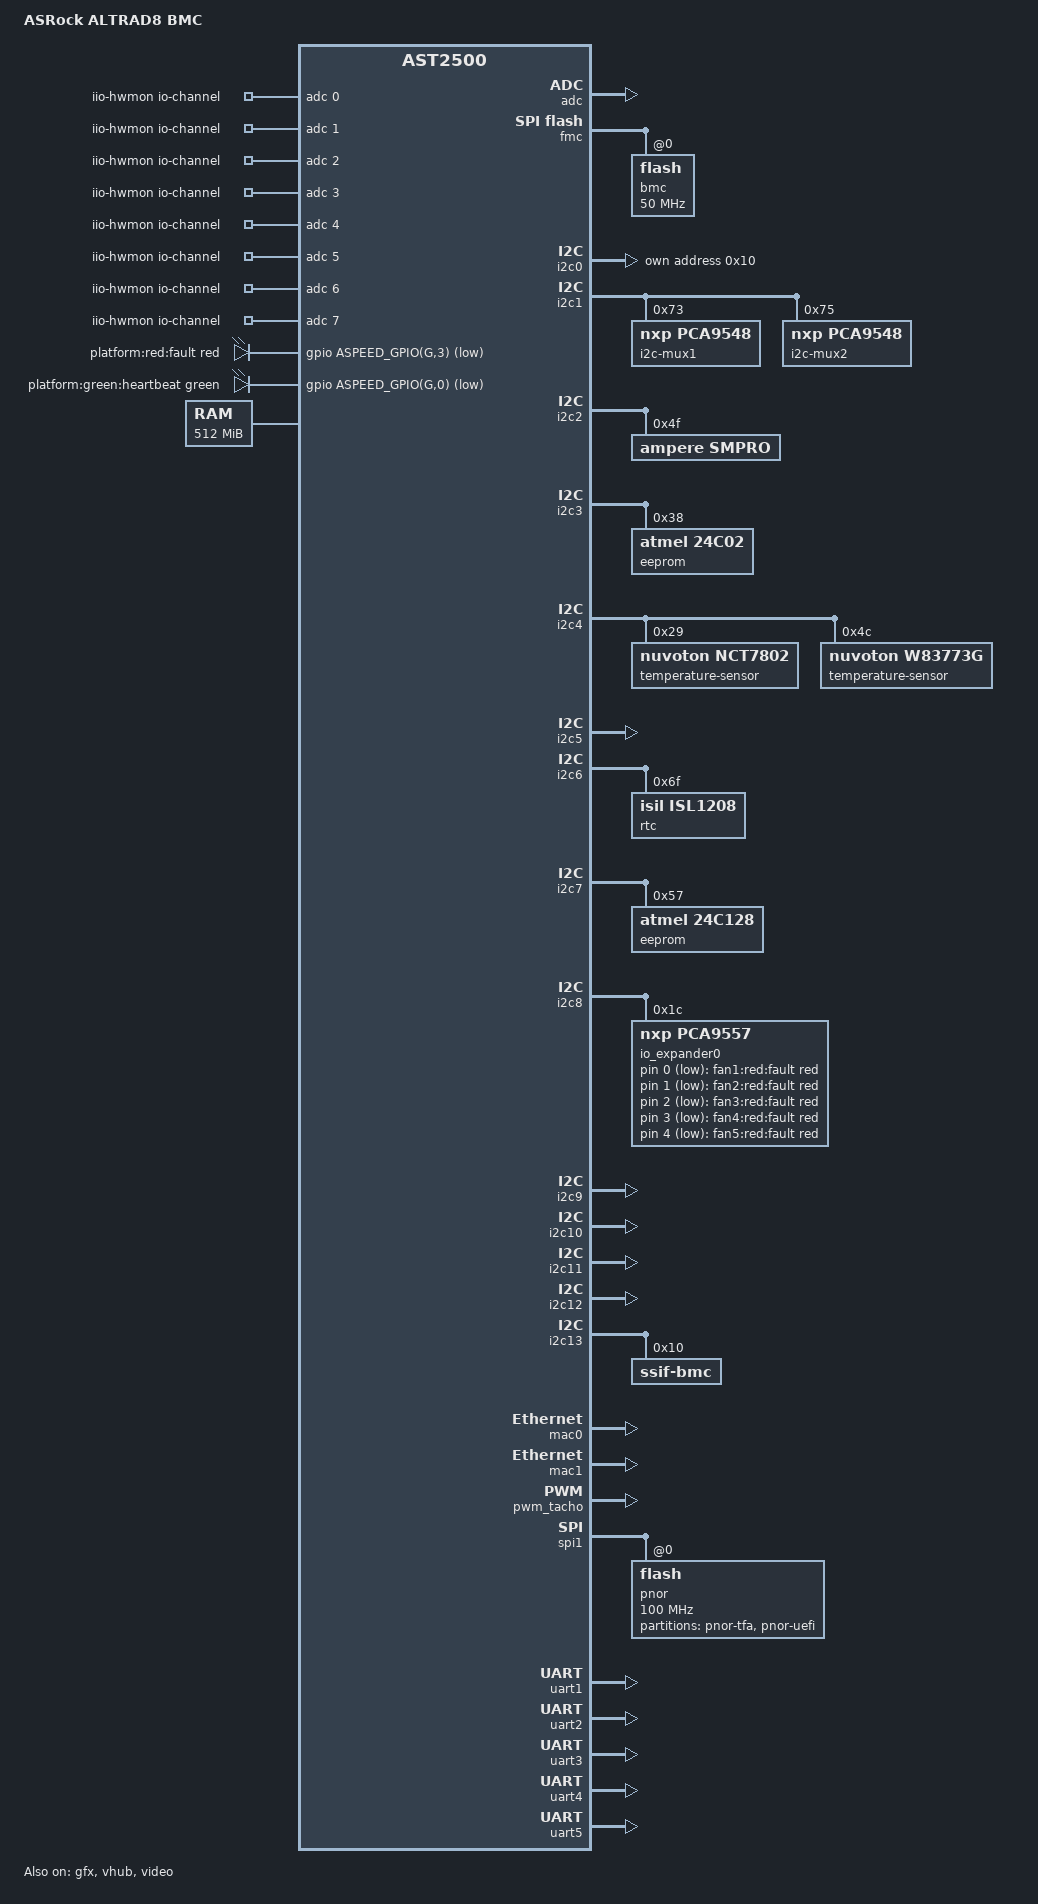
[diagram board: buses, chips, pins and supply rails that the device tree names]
// SPDX-License-Identifier: GPL-2.0+
/dts-v1/;

#include "aspeed-g5.dtsi"
#include <dt-bindings/gpio/aspeed-gpio.h>
#include <dt-bindings/leds/common.h>
#include <dt-bindings/i2c/i2c.h>

/ {
	model = "ASRock ALTRAD8 BMC";
	compatible = "asrock,altrad8-bmc", "aspeed,ast2500";

	aliases {
		serial4 = &uart5;
		i2c50 = &nvme1;
		i2c51 = &pcie4;
		i2c52 = &pcie5;
		i2c53 = &pcie6;
		i2c54 = &pcie7;
		i2c55 = &nvme3;
		i2c56 = &nvme2;
		i2c57 = &nvme0;
		i2c58 = &nvme4;
		i2c59 = &nvme5;
		i2c60 = &nvme6;
		i2c61 = &nvme7;
		i2c62 = &nvme8;
		i2c63 = &nvme9;
		i2c64 = &nvme10;
		i2c65 = &nvme11;
	};

	chosen {
		stdout-path = "uart5:115200n8";
	};

	iio-hwmon {
		compatible = "iio-hwmon";
		io-channels =	<&adc 0>, <&adc 1>, <&adc 2>, <&adc 3>,
				<&adc 4> ,<&adc 5>, <&adc 6>, <&adc 7>,
				<&adc 8>, <&adc 9>, <&adc 10>, <&adc 11>,
				<&adc 12>, <&adc 13>, <&adc 14>, <&adc 15>;
	};

	leds {
		compatible = "gpio-leds";

		led-system-fault {
			gpios = <&gpio ASPEED_GPIO(G,3) GPIO_ACTIVE_LOW>;
			label = "platform:red:fault";
			color = <LED_COLOR_ID_RED>;
			function = LED_FUNCTION_FAULT;
		};

		led-heartbeat {
			gpios = <&gpio ASPEED_GPIO(G,0) GPIO_ACTIVE_LOW>;
			label = "platform:green:heartbeat";
			color = <LED_COLOR_ID_GREEN>;
			function = LED_FUNCTION_INDICATOR;
			linux,default-trigger = "timer";
		};

		led-fan1-fault {
			retain-state-shutdown;
			default-state = "off";
			gpios = <&io_expander0 0 GPIO_ACTIVE_LOW>;
			label = "fan1:red:fault";
			color = <LED_COLOR_ID_RED>;
			function = LED_FUNCTION_FAULT;
		};

		led-fan2-fault {
			retain-state-shutdown;
			default-state = "off";
			gpios = <&io_expander0 1 GPIO_ACTIVE_LOW>;
			label = "fan2:red:fault";
			color = <LED_COLOR_ID_RED>;
			function = LED_FUNCTION_FAULT;
		};

		led-fan3-fault {
			retain-state-shutdown;
			default-state = "off";
			gpios = <&io_expander0 2 GPIO_ACTIVE_LOW>;
			label = "fan3:red:fault";
			color = <LED_COLOR_ID_RED>;
			function = LED_FUNCTION_FAULT;
		};

		led-fan4-fault {
			retain-state-shutdown;
			default-state = "off";
			gpios = <&io_expander0 3 GPIO_ACTIVE_LOW>;
			label = "fan4:red:fault";
			color = <LED_COLOR_ID_RED>;
			function = LED_FUNCTION_FAULT;
		};

		led-fan5-fault {
			retain-state-shutdown;
			default-state = "off";
			gpios = <&io_expander0 4 GPIO_ACTIVE_LOW>;
			label = "fan5:red:fault";
			color = <LED_COLOR_ID_RED>;
			function = LED_FUNCTION_FAULT;
		};
	};

	memory@80000000 {
		reg = <0x80000000 0x20000000>;
	};

	reserved-memory {
		#address-cells = <1>;
		#size-cells = <1>;
		ranges;

		gfx_memory: framebuffer {
			compatible = "shared-dma-pool";
			size = <0x01000000>;
			alignment = <0x01000000>;
			reusable;
		};

		vga_memory: framebuffer@9f000000 {
			no-map;
			reg = <0x9f000000 0x01000000>; /* 16M */
		};

		video_engine_memory: jpegbuffer {
			compatible = "shared-dma-pool";
			size = <0x02000000>;	/* 32M */
			alignment = <0x01000000>;
			reusable;
		};
	};
};

&adc {
	status = "okay";
	pinctrl-names = "default";
	pinctrl-0 = <&pinctrl_adc0_default
		&pinctrl_adc1_default
		&pinctrl_adc2_default
		&pinctrl_adc3_default
		&pinctrl_adc4_default
		&pinctrl_adc5_default
		&pinctrl_adc6_default
		&pinctrl_adc7_default
		&pinctrl_adc8_default
		&pinctrl_adc9_default
		&pinctrl_adc10_default
		&pinctrl_adc11_default
		&pinctrl_adc12_default
		&pinctrl_adc13_default
		&pinctrl_adc14_default
		&pinctrl_adc15_default>;
};

&fmc {
	status = "okay";

	flash@0 {
		label = "bmc";
		m25p,fast-read;
		spi-max-frequency = <50000000>;
		status = "okay";
#include "openbmc-flash-layout-64.dtsi"
	};
};

&gfx {
	memory-region = <&gfx_memory>;
	status = "okay";
};

&gpio {
	gpio-line-names =
	/*A0-A7*/	"","","","bmc-ready","","","","",
	/*B0-B7*/	"i2c-backup-sel","","","","","","","host0-shd-ack-n",
	/*C0-C7*/	"","","","","","","","",
	/*D0-D7*/	"button-power-n","control-power-n","button-reset-n",
			"host0-sysreset-n","","","power-chassis-good","",
	/*E0-E7*/	"","s0-vrd1-vddq0123-fault-n",
			"s0-vrd1-vddq4567-fault-n","s0-vrd0-vddc-fault-n",
			"s0-vrd3-p0v75-fault-n","","","",
	/*F0-F7*/	"","","ps-atx-on-n","","","","","",
	/*G0-G7*/	"led-bmc-heartbeat-n","button-identify-n","",
			"led-system-fault-n","uboot-ready","bmc-salt2-n","","",
	/*H0-H7*/	"ps-pwr-ok","","","","","","","",
	/*I0-I7*/	"","","","","","","","",
	/*J0-J7*/	"s0-hightemp-n","","","","","","","",
	/*K0-K7*/	"","","","","","","","",
	/*L0-L7*/	"","","","","","","","",
	/*M0-M7*/	"cpld-disable-bmc-n","","","","","s0-spi-auth-fail-n","","",
	/*N0-N7*/	"","","","","","","","",
	/*O0-O7*/	"","","","","","","","",
	/*P0-P7*/	"","","","","","","","",
	/*Q0-Q7*/	"","","","","","","led-identify-n",
			"chassis-intrusion-n",
	/*R0-R7*/	"","","ext-hightemp-n","spi0-program-sel","",
			"output-hwm-bat-en","","",
	/*S0-S7*/	"s0-vr-hot-n","","input-salt2-n","bmc-sysreset-n","","","","",
	/*T0-T7*/	"","","","","","","","",
	/*U0-U7*/	"","","","","","","","",
	/*V0-V7*/	"","","","","","","","",
	/*W0-W7*/	"","","","","","","","",
	/*X0-X7*/	"","","","","","","","",
	/*Y0-Y7*/	"","","","","","","","",
	/*Z0-Z7*/	"","","","s0-rtc-lock","","","","",
	/*AA0-AA7*/	"s0-rtc-int-n","","","","","pmbus-sel-n","","",
	/*AB0-AB7*/	"host0-reboot-ack-n","s0-sys-auth-failure-n",
			"","","","","","",
	/*AC0-AC7*/	"s0-fault-alert","host0-ready","s0-overtemp-n",
			"","bmc-ok","host0-special-boot","presence-cpu0",
			"host0-shd-req-n";

	status = "okay";
};

&i2c0 {
	status = "okay";

	ipmb@10 {
		compatible = "ipmb-dev";
		reg = <(0x10 | I2C_OWN_SLAVE_ADDRESS)>;
		i2c-protocol;
	};

};

&i2c1 {
	status = "okay";

	i2c-mux1@73 {
		compatible = "nxp,pca9548";
		reg = <0x73>;
		#address-cells = <1>;
		#size-cells = <0>;
		i2c-mux-idle-disconnect;

		nvme1: i2c@0 {
			#address-cells = <1>;
			#size-cells = <0>;
			reg = <0>;
		};

		pcie4: i2c@1 {
			#address-cells = <1>;
			#size-cells = <0>;
			reg = <1>;
		};

		pcie5: i2c@2 {
			#address-cells = <1>;
			#size-cells = <0>;
			reg = <2>;
		};

		pcie6: i2c@3 {
			#address-cells = <1>;
			#size-cells = <0>;
			reg = <3>;
		};

		pcie7: i2c@4 {
			#address-cells = <1>;
			#size-cells = <0>;
			reg = <4>;
		};

		nvme3: i2c@5 {
			#address-cells = <1>;
			#size-cells = <0>;
			reg = <5>;
		};

		nvme2: i2c@6 {
			#address-cells = <1>;
			#size-cells = <0>;
			reg = <6>;
		};

		nvme0: i2c@7 {
			#address-cells = <1>;
			#size-cells = <0>;
			reg = <7>;
		};
	};

	i2c-mux2@75 {
		compatible = "nxp,pca9548";
		reg = <0x75>;
		#address-cells = <1>;
		#size-cells = <0>;
		i2c-mux-idle-disconnect;

		nvme4: i2c@0 {
			#address-cells = <1>;
			#size-cells = <0>;
			reg = <0>;
		};

		nvme5: i2c@1 {
			#address-cells = <1>;
			#size-cells = <0>;
			reg = <1>;
		};

		nvme6: i2c@2 {
			#address-cells = <1>;
			#size-cells = <0>;
			reg = <2>;
		};

		nvme7: i2c@3 {
			#address-cells = <1>;
			#size-cells = <0>;
			reg = <3>;
		};

		nvme8: i2c@4 {
			#address-cells = <1>;
			#size-cells = <0>;
			reg = <4>;
		};

		nvme9: i2c@5 {
			#address-cells = <1>;
			#size-cells = <0>;
			reg = <5>;
		};

		nvme10: i2c@6 {
			#address-cells = <1>;
			#size-cells = <0>;
			reg = <6>;
		};

		nvme11: i2c@7 {
			#address-cells = <1>;
			#size-cells = <0>;
			reg = <7>;
		};
	};
};

&i2c2 {
	status = "okay";

	smpro@4f {
		compatible = "ampere,smpro";
		reg = <0x4f>;
	};
};

&i2c3 {
	status = "okay";

	// PSU FRU
	eeprom@38 {
		compatible = "atmel,24c02";
		reg = <0x38>;
	};
};

&i2c4 {
	status = "okay";

	temperature-sensor@29 {
		compatible = "nuvoton,nct7802";
		reg = <0x29>;

		#address-cells = <1>;
		#size-cells = <0>;

		channel@0 { /* LTD */
			reg = <0>;
			status = "okay";
		};

		channel@1 { /* RTD1 */
			reg = <1>;
			sensor-type = "temperature";
			temperature-mode = "thermistor";
		};

		channel@2 { /* RTD2 */
			reg = <2>;
			sensor-type = "temperature";
			temperature-mode = "thermal-diode";
		};
	};

	temperature-sensor@4c {
		compatible = "nuvoton,w83773g";
		reg = <0x4c>;
	};
};

&i2c5 {
	status = "okay";
};

&i2c6 {
	status = "okay";

	rtc@6f {
		compatible = "isil,isl1208";
		reg = <0x6f>;
	};
};

&i2c7 {
	status = "okay";

	// BMC FRU
	eeprom@57 {
		compatible = "atmel,24c128";
		reg = <0x57>;

		nvmem-layout {
			compatible = "fixed-layout";
			#address-cells = <1>;
			#size-cells = <1>;

			eth1_macaddress: macaddress@3f80 {
				reg = <0x3f80 6>;
			};

			// The offset for eth0 really is at 0x3f88.
			// eth0 and eth1 are swapped from what might be
			// expected.
			eth0_macaddress: macaddress@3f88 {
				reg = <0x3f88 6>;
			};
		};
	};
};

&i2c8 {
	status = "okay";

	io_expander0: gpio@1c {
		compatible = "nxp,pca9557";
		reg = <0x1c>;
		gpio-controller;
		#gpio-cells = <2>;
	};
};

&i2c9 {
	status = "okay";
};

&i2c10 {
	status = "okay";
};

&i2c11 {
	status = "okay";
};

// Bus for accessing the SCP EEPROM
&i2c12 {
	status = "okay";
};

&i2c13 {
	status = "okay";

	ssif-bmc@10 {
		compatible = "ssif-bmc";
		reg = <0x10>;
	};
};

// Connected to host Intel X550 (ALTRAD8UD-1L2T) or
// Broadcom BCM57414 (ALTRAD8UD2-1L2Q) interface.
// Unconnected on ALTRAD8UD-1L
&mac0 {
	pinctrl-names = "default";
	pinctrl-0 = <&pinctrl_rmii1_default>;
	clocks = <&syscon ASPEED_CLK_GATE_MAC1CLK>,
		 <&syscon ASPEED_CLK_MAC1RCLK>;
	clock-names = "MACCLK", "RCLK";
	use-ncsi;
	nvmem-cells = <&eth0_macaddress>;
	nvmem-cell-names = "mac-address";

	status = "okay";
};

// Connected to Realtek RTL8211E
&mac1 {
	pinctrl-names = "default";
	pinctrl-0 = <&pinctrl_rgmii2_default &pinctrl_mdio2_default>;

	nvmem-cells = <&eth1_macaddress>;
	nvmem-cell-names = "mac-address";

	status = "okay";
};

&pwm_tacho {
	pinctrl-names = "default";
	pinctrl-0 = <&pinctrl_pwm0_default
			&pinctrl_pwm1_default
			&pinctrl_pwm2_default
			&pinctrl_pwm3_default
			&pinctrl_pwm4_default
			&pinctrl_pwm5_default
			&pinctrl_pwm6_default
			&pinctrl_pwm7_default>;

	status = "okay";

	fan@0 {
		reg = <0x00>;
		aspeed,fan-tach-ch = /bits/ 8 <0x00 0x08>;
	};

	fan@1 {
		reg = <0x01>;
		aspeed,fan-tach-ch = /bits/ 8 <0x01 0x09>;
	};

	fan@2 {
		reg = <0x02>;
		aspeed,fan-tach-ch = /bits/ 8 <0x02 0x0a>;
	};

	fan@3 {
		reg = <0x03>;
		aspeed,fan-tach-ch = /bits/ 8 <0x03 0x0b>;
	};

	fan@4 {
		reg = <0x04>;
		aspeed,fan-tach-ch = /bits/ 8 <0x04 0x0c>;
	};

	fan@5 {
		reg = <0x05>;
		aspeed,fan-tach-ch = /bits/ 8 <0x05 0x0d>;
	};

	fan@6 {
		reg = <0x06>;
		aspeed,fan-tach-ch = /bits/ 8 <0x06 0x0e>;
	};

	fan@7 {
		reg = <0x07>;
		aspeed,fan-tach-ch = /bits/ 8 <0x07 0x0f>;
	};
};

&spi1 {
	pinctrl-names = "default";
	pinctrl-0 = <&pinctrl_spi1_default>;

	status = "okay";

	// Host BIOS/UEFI EEPROM
	flash@0 {
		m25p,fast-read;
		label = "pnor";
		spi-max-frequency = <100000000>;
		status = "okay";

		partitions {
			compatible = "fixed-partitions";
			#address-cells = <1>;
			#size-cells = <1>;

			tfa@400000 {
				reg = <0x400000 0x200000>;
				label = "pnor-tfa";
			};

			uefi@600000 {
				reg = <0x600000 0x1A00000>;
				label = "pnor-uefi";
			};
		};
	};
};

&uart1 {
	pinctrl-names = "default";
	pinctrl-0 = <&pinctrl_txd1_default
			 &pinctrl_rxd1_default
			 &pinctrl_ncts1_default
			 &pinctrl_nrts1_default>;

	status = "okay";
};

&uart2 {
	pinctrl-names = "default";
	pinctrl-0 = <&pinctrl_txd2_default
			&pinctrl_rxd2_default>;

	status = "okay";
};

&uart3 {
	pinctrl-names = "default";
	pinctrl-0 = <&pinctrl_txd3_default
			&pinctrl_rxd3_default>;

	status = "okay";
};

&uart4 {
	pinctrl-names = "default";
	pinctrl-0 = <&pinctrl_txd4_default
			&pinctrl_rxd4_default>;

	status = "okay";
};

// The BMC's uart
&uart5 {
	status = "okay";
};

&vhub {
	status = "okay";
};

&video {
	memory-region = <&video_engine_memory>;

	status = "okay";
};
